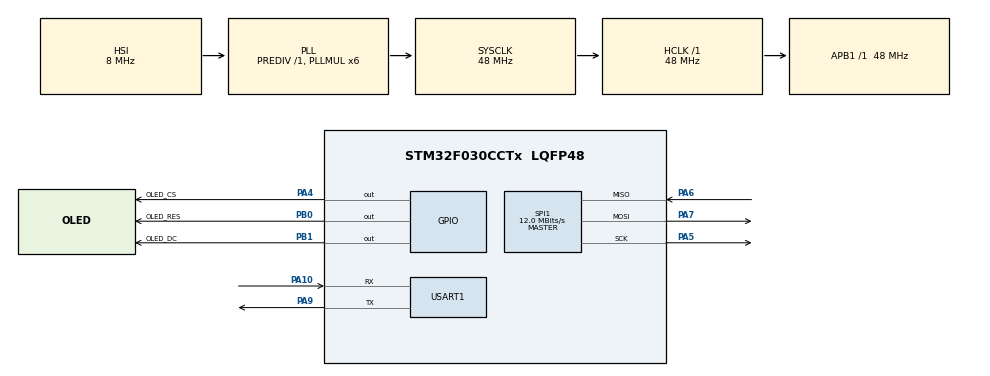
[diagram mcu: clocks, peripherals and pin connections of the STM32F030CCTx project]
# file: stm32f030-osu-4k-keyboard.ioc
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IWDG.Prescaler=IWDG_PRESCALER_8
Mcu.Family=STM32F0
Mcu.Name=STM32F030CCTx
Mcu.Package=LQFP48
NVIC.TIM3_IRQn=true\:1\:0\:true\:false\:true\:true\:true\:true
NVIC.TIM6_IRQn=true\:2\:0\:true\:false\:true\:true\:true\:true
NVIC.USART1_IRQn=true\:3\:0\:true\:false\:true\:true\:true\:true
PA10.Mode=Multiprocessor_communication
PA10.Signal=USART1_RX
PA13.Mode=Serial_Wire
PA13.Signal=SYS_SWDIO
PA14.Mode=Serial_Wire
PA14.Signal=SYS_SWCLK
PA4.GPIO_Label=OLED_CS
PA4.GPIO_Speed=GPIO_SPEED_FREQ_HIGH
PA4.Signal=GPIO_Output
PA5.Mode=Full_Duplex_Master
PA5.Signal=SPI1_SCK
PA6.Mode=Full_Duplex_Master
PA6.Signal=SPI1_MISO
PA7.Mode=Full_Duplex_Master
PA7.Signal=SPI1_MOSI
PA9.Mode=Multiprocessor_communication
PA9.Signal=USART1_TX
PB0.GPIO_Label=OLED_RES
PB0.GPIO_Speed=GPIO_SPEED_FREQ_HIGH
PB0.Signal=GPIO_Output
PB1.GPIO_Label=OLED_DC
PB1.GPIO_Speed=GPIO_SPEED_FREQ_HIGH
PB1.Signal=GPIO_Output
PF0-OSC_IN.Mode=HSE-External-Oscillator
PF0-OSC_IN.Signal=RCC_OSC_IN
PF1-OSC_OUT.Mode=HSE-External-Oscillator
PF1-OSC_OUT.Signal=RCC_OSC_OUT
ProjectManager.HeapSize=0x200
ProjectManager.StackSize=0x400
ProjectManager.TargetToolchain=MDK-ARM V5.32
RCC.AHBFreq_Value=48000000
RCC.APB1Freq_Value=48000000
RCC.APB1TimFreq_Value=48000000
RCC.HCLKFreq_Value=48000000
RCC.PLLMUL=RCC_PLL_MUL6
RCC.SYSCLKFreq_VALUE=48000000
RCC.SYSCLKSource=RCC_SYSCLKSOURCE_PLLCLK
SPI1.BaudRatePrescaler=SPI_BAUDRATEPRESCALER_4
SPI1.CLKPhase=SPI_PHASE_2EDGE
SPI1.CLKPolarity=SPI_POLARITY_HIGH
SPI1.CalculateBaudRate=12.0 MBits/s
SPI1.DataSize=SPI_DATASIZE_8BIT
SPI1.Direction=SPI_DIRECTION_2LINES
SPI1.Mode=SPI_MODE_MASTER
SPI1.VirtualType=VM_MASTER
TIM3.Period=10000-1
TIM3.Prescaler=100-1
TIM6.Period=10000-1
TIM6.Prescaler=4800-1
USART1.AutoBaudRateEnableParam=UART_ADVFEATURE_AUTOBAUDRATE_ENABLE
USART1.VirtualMode-Multiprocessor_communication=VM_ASYNC
VP_IWDG_VS_IWDG.Mode=IWDG_Activate
VP_TIM3_VS_ClockSourceINT.Mode=Internal
VP_TIM6_VS_ClockSourceINT.Mode=Enable_Timer
board=custom

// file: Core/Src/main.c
/* USER CODE BEGIN Header */
/**
  ******************************************************************************
  * @file           : main.c
  * @brief          : Main program body
  ******************************************************************************
  * @attention
  *
  * Copyright (c) 2023 STMicroelectronics.
  * All rights reserved.
  *
  * This software is licensed under terms that can be found in the LICENSE file
  * in the root directory of this software component.
  * If no LICENSE file comes with this software, it is provided AS-IS.
  *
  ******************************************************************************
  */
/* USER CODE END Header */
#include "main.h"
#include "iwdg.h"
#include "spi.h"
#include "tim.h"
#include "usart.h"
#include "gpio.h"

/* USER CODE BEGIN Includes */
#include "u8g2.h"
#include "stdio.h"
#include "stdlib.h"
/* USER CODE END Includes */

/* USER CODE BEGIN PTD */
typedef struct
{
  uint64_t former;
  uint64_t latter;
} Line;

/* USER CODE END PTD */

/* USER CODE BEGIN PD */
#define MD_OLED_RST_Clr()     HAL_GPIO_WritePin(OLED_RES_GPIO_Port,OLED_RES_Pin,GPIO_PIN_RESET) //oled 复位端口操作
#define MD_OLED_RST_Set()     HAL_GPIO_WritePin(OLED_RES_GPIO_Port,OLED_RES_Pin,GPIO_PIN_SET)
#define FONT                  u8g2_font_6x13B_tf
#define WIDTH                 128
#define HEIGHT                64
#define MARGIN_LEFT           64
#define PADDING_UP            0
#define MARGIN_UP             12
#define MARGIN_DOWN           12
#define HALF_WIDTH            64
#define BEGINBIT              0x8000000000000000
#define ENDBIT                (0x0000000000000001<<(MARGIN_LEFT/2))
#define TILE_WIDTH            10
#define NUMBER_STRING_LENGTH  16
#define REFRESH_RATE          48
#define KPS_HISTORY_LENGTH    65
//#define TILE_LENGTH         56
#define CHART_HEIGHT          (HEIGHT-MARGIN_DOWN-MARGIN_UP)
#define TILE1                 0
#define TILE2                 10
#define TILE3                 20
#define TILE4                 30
#define SCREEN_REST_TIME      60
#define _SCREEN_REST_ON
#define roll()                rand()%2;
/* USER CODE END PD */

/* USER CODE BEGIN PV */
u8g2_t u8g2;
uint16_t n = 0;
uint16_t i = 0;
int8_t j = 0;
uint16_t t = 0;
uint16_t fps = 0;
uint16_t count = 0;
uint8_t str[5] = {0};
uint8_t kpsstr[5] = {0};
uint8_t str1[10] = {0};
uint8_t keys[4] = {0};
uint8_t keys1[4] = {0};
uint8_t kpsqueue[REFRESH_RATE] = {0};
uint8_t kpshistory[KPS_HISTORY_LENGTH] = {0};
uint8_t kpshistoryi = 0;
uint8_t kpsi = 0;
uint8_t kpsmax = 1;
uint8_t kpsmaxps = 0;
uint8_t kpsmax1 = 1;
uint8_t displayon = SCREEN_REST_TIME;
uint32_t counts[4] = {0,0,0,0};
uint8_t num1[NUMBER_STRING_LENGTH] = {0};
uint8_t num2[NUMBER_STRING_LENGTH] = {0};
uint8_t num3[NUMBER_STRING_LENGTH] = {0};
uint8_t num4[NUMBER_STRING_LENGTH] = {0};
Line lines[4] = {0};
uint8_t rec_buf[2]={0xff};
float floatlist[8] = {0.0};
uint8_t kps = 0;

/* USER CODE END PV */

void SystemClock_Config(void);

/* USER CODE BEGIN 0 */

uint8_t u8x8_byte_4wire_hw_spi(u8x8_t *u8x8, uint8_t msg, uint8_t arg_int,void *arg_ptr)
{
  switch (msg)
  {
    case U8X8_MSG_BYTE_SEND:
      //while(__HAL_SPI_GET_FLAG(&hspi1,SPI_FLAG_BSY));
      HAL_SPI_Transmit(&hspi1,(uint8_t *)arg_ptr,arg_int,10);
      break;
    case U8X8_MSG_BYTE_INIT:
      break;
    case U8X8_MSG_BYTE_SET_DC:
      HAL_GPIO_WritePin(OLED_DC_GPIO_Port,OLED_DC_Pin,arg_int);
      break;
    case U8X8_MSG_BYTE_START_TRANSFER:
      break;
    case U8X8_MSG_BYTE_END_TRANSFER:
      break;
    default:
      return 0;
  }
  return 1;
}

uint8_t u8x8_stm32_gpio_and_delay(U8X8_UNUSED u8x8_t *u8x8,
    U8X8_UNUSED uint8_t msg, U8X8_UNUSED uint8_t arg_int,
    U8X8_UNUSED void *arg_ptr)
{
  switch (msg)
  {
    case U8X8_MSG_GPIO_AND_DELAY_INIT:
      break;
    case U8X8_MSG_DELAY_MILLI:
      HAL_Delay(arg_int);
      break;
    case U8X8_MSG_GPIO_CS:
      break;
    case U8X8_MSG_GPIO_DC:
      HAL_GPIO_WritePin(OLED_DC_GPIO_Port,OLED_DC_Pin,arg_int);
      break;
    case U8X8_MSG_GPIO_RESET:
      break;
  }
  return 1;
}

void update()
{

  //keys[0]=roll();
  //keys[1]=roll();
  //keys[2]=roll();
  //keys[3]=roll();
  keys[0]=!(rec_buf[0]&0x08);
  keys[1]=!(rec_buf[0]&0x04);
  keys[2]=!(rec_buf[0]&0x02);
  keys[3]=!(rec_buf[0]&0x01);
  kpsqueue[kpsi]=0;
  if(keys[0]&&!keys1[0])
  {
    counts[0]++;
    keys1[0]=1;
    kpsqueue[kpsi]++;
  }
  if(!keys[0]&&keys1[0])
  {
    keys1[0]=0;
  }
  if(keys[1]&&!keys1[1])
  {
    counts[1]++;
    keys1[1]=1;
    kpsqueue[kpsi]++;
  }
  if(!keys[1]&&keys1[1])
  {
    keys1[1]=0;
  }
  if(keys[2]&&!keys1[2])
  {
    counts[2]++;
    keys1[2]=1;
    kpsqueue[kpsi]++;
  }
  if(!keys[2]&&keys1[2])
  {
    keys1[2]=0;
  }
  if(keys[3]&&!keys1[3])
  {
    counts[3]++;
    keys1[3]=1;
    kpsqueue[kpsi]++;
  }
  if(!keys[3]&&keys1[3])
  {
    keys1[3]=0;
  }
  lines[0].latter >>= 1;
  lines[1].latter >>= 1;
  lines[2].latter >>= 1;
  lines[3].latter >>= 1;
  if(lines[0].former & ENDBIT)
    lines[0].latter |= BEGINBIT;
  if(lines[1].former & ENDBIT)
    lines[1].latter |= BEGINBIT;
  if(lines[2].former & ENDBIT)
    lines[2].latter |= BEGINBIT;
  if(lines[3].former & ENDBIT)
    lines[3].latter |= BEGINBIT;
  lines[0].former >>= 1;
  lines[1].former >>= 1;
  lines[2].former >>= 1;
  lines[3].former >>= 1;
  if(keys[0])
  {
    //counts[0]++;
    lines[0].former |= BEGINBIT;
  }
  if(keys[1])
  {
    //counts[1]++;
    lines[1].former |= BEGINBIT;
  }
  if(keys[2])
  {
    //counts[2]++;
    lines[2].former |= BEGINBIT;
  }
  if(keys[3])
  {
    //counts[3]++;
    lines[3].former |= BEGINBIT;
  }
  kps=0;
  for(i=0;i<REFRESH_RATE;i++)
    kps+=kpsqueue[i];
  if (kps>kpsmaxps)
    kpsmaxps=kps;
  kpsmax1=0;

  sprintf(num1,"%5d",counts[0]);
  sprintf(num2,"%5d",counts[1]);
  sprintf(num3,"%5d",counts[2]);
  sprintf(num4,"%5d",counts[3]);

}

void refresh()
{
  u8g2_ClearBuffer(&u8g2);
#ifdef _SCREEN_REST_ON
  if(!displayon)
  {
    u8g2_SendBuffer(&u8g2);
    return;
  }
#endif
  for (i=0;i<HALF_WIDTH;i++)
  {
    if ((lines[0].former<<i)&BEGINBIT)
      u8g2_DrawVLine(&u8g2,i+MARGIN_LEFT,TILE1+MARGIN_UP,TILE_WIDTH);
    //if ((lines[0].latter<<i)&BEGINBIT)
    //  u8g2_DrawVLine(&u8g2,i+MARGIN_LEFT+HALF_WIDTH,TILE1+PADDING_UP,TILE_WIDTH);
    if ((lines[1].former<<i)&BEGINBIT)
      u8g2_DrawVLine(&u8g2,i+MARGIN_LEFT,TILE2+MARGIN_UP,TILE_WIDTH);
    //if ((lines[1].latter<<i)&BEGINBIT)
    //  u8g2_DrawVLine(&u8g2,i+MARGIN_LEFT+HALF_WIDTH,TILE2+PADDING_UP,TILE_WIDTH);
    if ((lines[2].former<<i)&BEGINBIT)
      u8g2_DrawVLine(&u8g2,i+MARGIN_LEFT,TILE3+MARGIN_UP,TILE_WIDTH);
    //if ((lines[2].latter<<i)&BEGINBIT)
    //  u8g2_DrawVLine(&u8g2,i+MARGIN_LEFT+HALF_WIDTH,TILE3+PADDING_UP,TILE_WIDTH);
    if ((lines[3].former<<i)&BEGINBIT)
      u8g2_DrawVLine(&u8g2,i+MARGIN_LEFT,TILE4+MARGIN_UP,TILE_WIDTH);
    //if ((lines[3].latter<<i)&BEGINBIT)
    //  u8g2_DrawVLine(&u8g2,i+MARGIN_LEFT+HALF_WIDTH,TILE4+PADDING_UP,TILE_WIDTH);
  }

  floatlist[2]=kpsmax;
  for (i=0;i<KPS_HISTORY_LENGTH-1;i++)
  {
    if(kpsmax)
    {
      j = kpshistoryi-i-1;

      if(j>0)
      {
        floatlist[0]=kpshistory[j];
        floatlist[1]=kpshistory[j-1];
      }
      if(j==0)
      {
        floatlist[0]=kpshistory[0];
        floatlist[1]=kpshistory[KPS_HISTORY_LENGTH-1];
      }
      if(j<0)
      {
        floatlist[0]=kpshistory[KPS_HISTORY_LENGTH + j];
        floatlist[1]=kpshistory[KPS_HISTORY_LENGTH + j-1];
      }
      //floatlist[0]=kpshistory[j];
      //floatlist[1]=kpshistory[j-1];
      //u8g2_DrawLine(&u8g2,64-i*2,35,64-(1+i)*2,35);
      if(floatlist[0]>floatlist[2] || floatlist[1]>floatlist[2])
        u8g2_DrawLine(&u8g2,KPS_HISTORY_LENGTH-i,MARGIN_UP,KPS_HISTORY_LENGTH-i-1,MARGIN_UP);
      else
        u8g2_DrawLine(&u8g2,
          KPS_HISTORY_LENGTH-i-1,CHART_HEIGHT+MARGIN_UP-(uint8_t)(floatlist[3]*(floatlist[0]/floatlist[2])),
          KPS_HISTORY_LENGTH-i-2,CHART_HEIGHT+MARGIN_UP-(uint8_t)(floatlist[3]*(floatlist[1]/floatlist[2])));
    }

    if (kpsmax1<kpshistory[i])
      kpsmax1=kpshistory[i];
  }
  kpsmax = kpsmax1;

  u8g2_SetFont(&u8g2, u8g2_font_micro_tr);
  u8g2_DrawStr(&u8g2,0,MARGIN_UP-1,"KPS:");
  u8g2_DrawStr(&u8g2,32,MARGIN_UP-1,"MAX:");
  u8g2_DrawStr(&u8g2,96,MARGIN_UP-1,"FPS:");
  u8g2_SetFont(&u8g2, u8g2_font_6x13_tf);
  u8g2_DrawStr(&u8g2,2,63,num1);
  u8g2_DrawStr(&u8g2,34,63,num2);
  u8g2_DrawStr(&u8g2,66,63,num3);
  u8g2_DrawStr(&u8g2,98,63,num4);
  u8g2_DrawStr(&u8g2,96+15,MARGIN_UP-1,str);
  sprintf(kpsstr,"%2d",kps);
  u8g2_DrawStr(&u8g2,15,MARGIN_UP-1,kpsstr);
  sprintf(kpsstr,"%2d",kpsmax);
  u8g2_DrawStr(&u8g2,15+32,MARGIN_UP-1,kpsstr);

  u8g2_DrawHLine(&u8g2,0,MARGIN_UP,128);
  u8g2_DrawHLine(&u8g2,0,CHART_HEIGHT+MARGIN_UP,128);
  u8g2_DrawVLine(&u8g2,64,MARGIN_UP,CHART_HEIGHT+MARGIN_DOWN);
  u8g2_DrawVLine(&u8g2,32,HEIGHT-MARGIN_DOWN,MARGIN_DOWN);
  u8g2_DrawVLine(&u8g2,96,HEIGHT-MARGIN_DOWN,MARGIN_DOWN);

  u8g2_SendBuffer(&u8g2);

  fps++;
  kpsi++;
  if(kpsi>=REFRESH_RATE)
  {
    kpsi=0;
  }
  /*
  count++;
  if(count>=2)
  {
    count=0;
    kpshistory[kpshistoryi]=kps;
    kpshistoryi++;
    if(kpshistoryi>=KPS_HISTORY_LENGTH)
      kpshistoryi=0;
  }
  */
}

/* USER CODE END 0 */

int main(void)
{

  /* MCU Configuration--------------------------------------------------------*/

  /* Reset of all peripherals, Initializes the Flash interface and the Systick. */
  HAL_Init();

  /* Configure the system clock */
  SystemClock_Config();

  /* Initialize all configured peripherals */
  MX_GPIO_Init();
  MX_SPI1_Init();
  MX_TIM3_Init();
  MX_TIM6_Init();
  MX_USART1_UART_Init();
  MX_IWDG_Init();
  /* USER CODE BEGIN 2 */
  MD_OLED_RST_Set();
  floatlist[3]=(float)(CHART_HEIGHT-1);

  u8g2_Setup_ssd1306_128x64_noname_f(&u8g2, U8G2_R0, u8x8_byte_4wire_hw_spi , u8x8_stm32_gpio_and_delay); // 初始化 u8g2 结构体
  u8g2_InitDisplay(&u8g2);                                                                       // 根据所选的芯片进行初始化工作，初始化完成后，显示器处于关闭状态
  u8g2_SetPowerSave(&u8g2, 0);                                                                   // 打开显示器
  u8g2_ClearBuffer(&u8g2);

  u8g2_SetFontDirection(&u8g2,0);
  sprintf(str,"%d",sizeof(uint64_t));
  HAL_TIM_Base_Start_IT(&htim3);
  HAL_TIM_Base_Start_IT(&htim6);
  //LL_USART_EnableIT_RXNE(USART1);
  HAL_UART_Receive_IT(&huart1,rec_buf,1);

  /* USER CODE END 2 */

  /* Infinite loop */
  while (1)
  {

  }
}

void SystemClock_Config(void)
{
  RCC_OscInitTypeDef RCC_OscInitStruct = {0};
  RCC_ClkInitTypeDef RCC_ClkInitStruct = {0};
  RCC_PeriphCLKInitTypeDef PeriphClkInit = {0};

  /** Initializes the RCC Oscillators according to the specified parameters
  * in the RCC_OscInitTypeDef structure.
  */
  RCC_OscInitStruct.OscillatorType = RCC_OSCILLATORTYPE_HSI|RCC_OSCILLATORTYPE_LSI;
  RCC_OscInitStruct.HSIState = RCC_HSI_ON;
  RCC_OscInitStruct.HSICalibrationValue = RCC_HSICALIBRATION_DEFAULT;
  RCC_OscInitStruct.LSIState = RCC_LSI_ON;
  RCC_OscInitStruct.PLL.PLLState = RCC_PLL_ON;
  RCC_OscInitStruct.PLL.PLLSource = RCC_PLLSOURCE_HSI;
  RCC_OscInitStruct.PLL.PLLMUL = RCC_PLL_MUL6;
  RCC_OscInitStruct.PLL.PREDIV = RCC_PREDIV_DIV1;
  if (HAL_RCC_OscConfig(&RCC_OscInitStruct) != HAL_OK)
  {
    Error_Handler();
  }

  /** Initializes the CPU, AHB and APB buses clocks
  */
  RCC_ClkInitStruct.ClockType = RCC_CLOCKTYPE_HCLK|RCC_CLOCKTYPE_SYSCLK
                              |RCC_CLOCKTYPE_PCLK1;
  RCC_ClkInitStruct.SYSCLKSource = RCC_SYSCLKSOURCE_PLLCLK;
  RCC_ClkInitStruct.AHBCLKDivider = RCC_SYSCLK_DIV1;
  RCC_ClkInitStruct.APB1CLKDivider = RCC_HCLK_DIV1;

  if (HAL_RCC_ClockConfig(&RCC_ClkInitStruct, FLASH_LATENCY_1) != HAL_OK)
  {
    Error_Handler();
  }
  PeriphClkInit.PeriphClockSelection = RCC_PERIPHCLK_USART1;
  PeriphClkInit.Usart1ClockSelection = RCC_USART1CLKSOURCE_PCLK1;
  if (HAL_RCCEx_PeriphCLKConfig(&PeriphClkInit) != HAL_OK)
  {
    Error_Handler();
  }
}

/* USER CODE BEGIN 4 */
void HAL_TIM_PeriodElapsedCallback(TIM_HandleTypeDef *htim)
{
  if (htim->Instance==TIM3)
  {
    update();
    refresh();
    HAL_IWDG_Refresh(&hiwdg);
    if(kpsmax||(uint8_t)(~rec_buf[0]))
      displayon=SCREEN_REST_TIME;
  }
  if (htim->Instance==TIM6)
  {
    sprintf(str,"%3d",fps);
    if(displayon)
      displayon--;
    kpshistory[kpshistoryi]=kpsmaxps;
    kpshistoryi++;
    if(kpshistoryi>=KPS_HISTORY_LENGTH)
      kpshistoryi=0;

    fps=0;
    kpsmaxps=0;
  }
}

/* USER CODE END 4 */

void Error_Handler(void)
{
  __disable_irq();
  while (1)
  {
  }
}
